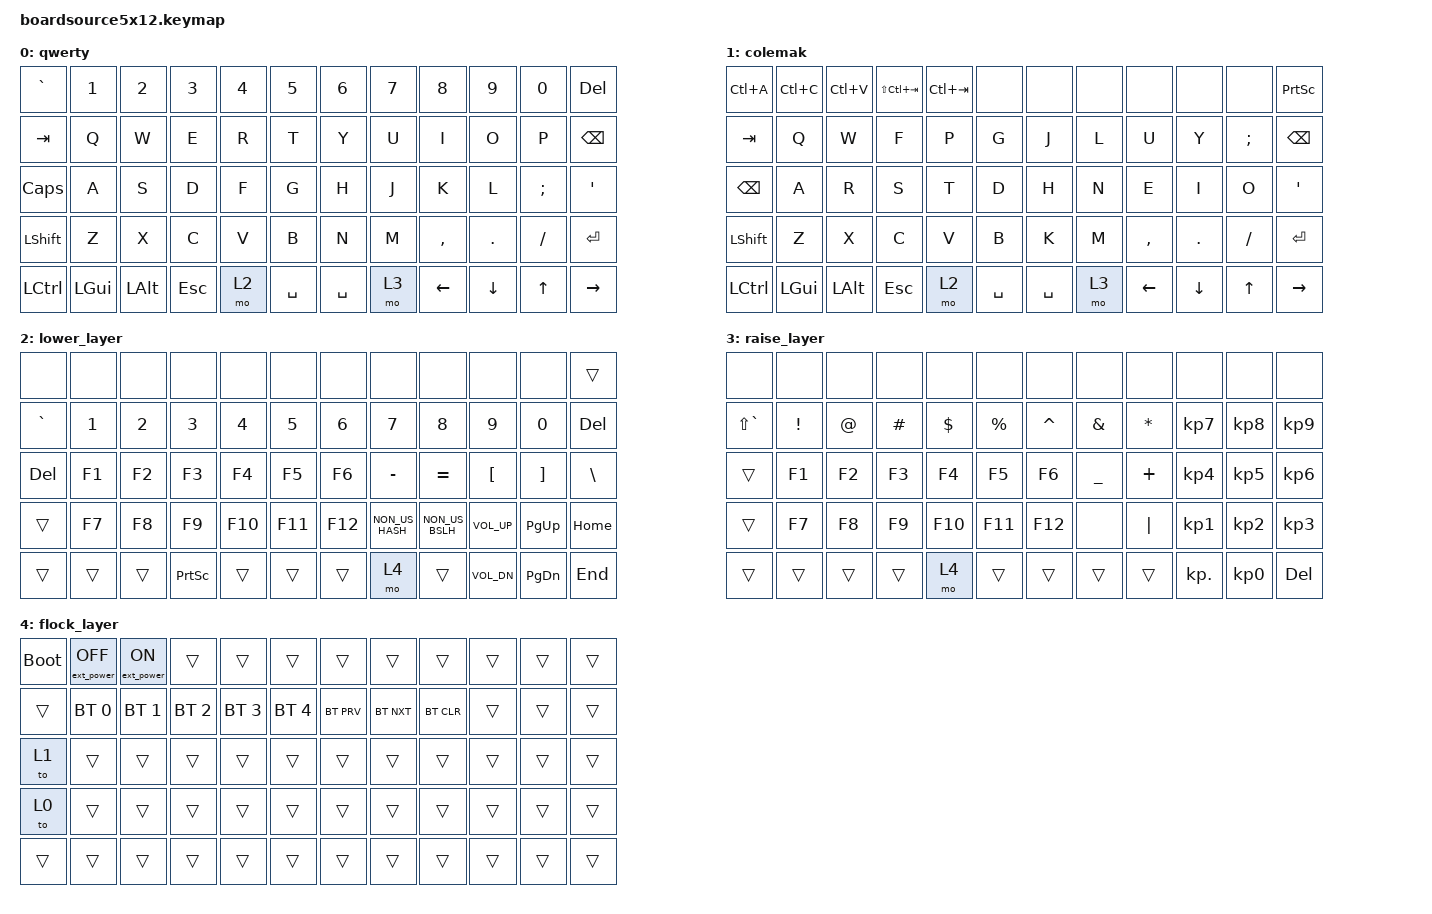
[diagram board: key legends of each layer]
/*
 * Copyright (c) 2021 The ZMK Contributors
 *
 * SPDX-License-Identifier: MIT
 */
 
#include <behaviors.dtsi>
#include <dt-bindings/zmk/keys.h>
#include <dt-bindings/zmk/bt.h>
#include <dt-bindings/zmk/outputs.h>
#include <dt-bindings/zmk/ext_power.h>


/ {
    keymap {
        compatible = "zmk,keymap";

        qwerty {
            // ------------------------------------------------------------------------------------------
            // |  ~    | 1    |  2   |  3   |  4   |  5   |   6   |  7    |  8   |  9   |   0   | DEL   |
            // |  TAB  |  Q   |  W   |  E   |  R   |  T   |   Y   |  U    |  I   |  O   |   P   | BSPC  |
            // |  CAPS |  A   |  S   |  D   |  F   |  G   |   H   |  J    |  K   |  L   |   ;   |  '    |
            // | SHIFT |  Z   |  X   |  C   |  V   |  B   |   N   |  M    |  ,   |  .   |   /   | ENTER |
            // | LCTRL | WIN  | LALT | ESC  | LOWR | SPACE| SPACE |  RAIS | LARW | DARW | UARW  | RARW  |
            bindings = <
                &kp GRAVE  &kp N1       &kp N2      &kp N3     &kp N4     &kp N5      &kp N6      &kp N7  &kp N8      &kp N9      &kp N0      &kp DEL
                &kp TAB    &kp Q        &kp W       &kp E      &kp R      &kp T       &kp Y       &kp U   &kp I       &kp O       &kp P       &kp BSPC
                &kp CAPS   &kp A        &kp S       &kp D      &kp F      &kp G       &kp H       &kp J   &kp K       &kp L       &kp SEMI    &kp SQT
                &kp LSHFT  &kp Z        &kp X       &kp C      &kp V      &kp B       &kp N       &kp M   &kp COMMA   &kp DOT     &kp FSLH    &kp RET
                &kp LCTL   &kp LGUI     &kp LALT    &kp ESC    &mo 2      &kp SPACE   &kp SPACE   &mo 3   &kp LEFT    &kp DOWN    &kp UP      &kp RIGHT 
            >;
        };

        colemak {
            // -------------------------------------------------------------------------------------------
            // |  all  | copy | pste | prev | forw |  NA  |   NA  |  NA   |  NA  |  NA  |   NA  |  PRNT |
            // |  TAB  |  Q   |  W   |  F   |  P   |  G   |   J   |   L   |  U   |  Y   |   :   |  BSPC |
            // |  BSPC |  A   |  R   |  S   |  T   |  D   |   H   |   N   |  E   |  I   |   O   |   '   |
            // | SHIFT |  Z   |  X   |  C   |  V   |  B   |   K   |   M   |  ,   |  .   |   /   | ENTER |
            // | LCTRL | WIN  | LALT | ESC  | LOWR | SPACE| SPACE |  RAIS | LARW | DARW | UARW  | RARW  |
           bindings = <
                &kp LC(A)  &kp LC(C)    &kp LC(V)   &kp LS(LC(TAB)) &kp LC(TAB) &none       &none       &none   &none       &none       &none       &kp PSCRN
                &kp TAB    &kp Q        &kp W       &kp F           &kp P       &kp G       &kp J       &kp L   &kp U       &kp Y       &kp SEMI    &kp BSPC
                &kp BSPC   &kp A        &kp R       &kp S           &kp T       &kp D       &kp H       &kp N   &kp E       &kp I       &kp O       &kp SQT
                &kp LSHFT  &kp Z        &kp X       &kp C           &kp V       &kp B       &kp K       &kp M   &kp COMMA   &kp DOT     &kp FSLH    &kp RET
                &kp LCTL   &kp LGUI     &kp LALT    &kp ESC         &mo 2       &kp SPACE   &kp SPACE   &mo 3   &kp LEFT    &kp DOWN    &kp UP      &kp RIGHT 
            >;
        };

        lower_layer {
            // ------------------------------------------------------------------------------------------
            // |  NA   |  NA  |  NA  |  NA  |  NA  |  NA  |  NA   |  NA   |  NA  |  NA  |   NA  |  NA   |
            // |   ~   |  1   |  2   |  3   |  4   |  5   |  6    |   7   |  8   |  9   |   0   |  DEL  |
            // |  DEL  |  F1  |  F2  |  F3  |  F4  |  F5  |  F6   |   -   |  =   |  [   |   ]   |   \   |
            // |       |  F7  |  F8  |  F9  |  F10 |  F11 |  F12  |   #   |  |   | VOL+ |  PGUP |  HOME |
            // |       |      |      | PRNT |      |      |       | flock |      | VOL- |  PGD  |  END  |
            bindings = <
                &none     &none    &none    &none     &none     &none   &none     &none           &none           &none         &none            &trans
                &kp GRAVE &kp N1   &kp N2   &kp N3    &kp N4    &kp N5  &kp N6    &kp N7          &kp N8          &kp N9        &kp N0           &kp DEL
                &kp DEL   &kp F1   &kp F2   &kp F3    &kp F4    &kp F5  &kp F6    &kp MINUS       &kp EQUAL       &kp LBKT      &kp RBKT         &kp BSLH
                &trans    &kp F7   &kp F8   &kp F9    &kp F10   &kp F11 &kp F12   &kp NON_US_HASH &kp NON_US_BSLH &kp C_VOL_UP  &kp PG_UP        &kp HOME
                &trans    &trans   &trans   &kp PSCRN &trans    &trans  &trans    &mo 4           &trans          &kp C_VOL_DN  &kp PG_DN        &kp END
            >;
        };

        raise_layer {
            // ------------------------------------------------------------------------------------------
            // |  NA  |  NA  |  NA  |  NA  |  NA   |  NA  |  NA  |  NA  |  NA  |  NA  |  NA  |    NA     |
            // |   ~  |  !   |  @   |  #   |  $    |  %   |  ^   |  &   |  *   |  7   |  8   |    9      |
            // |      |  F1  |  F2  |  F3  |  F4   |  F5  |  F6  |  _   |  +   |  4   |  5   |    6      |
            // |      |  F7  |  F8  |  F9  |  F10  |  F11 |  F12 |  NA  |  |   |  1   |  2   |    3      |
            // |      |      |      |      | flock |      |      |      |  NA  |  .   |  0   |    DEL    |
            bindings = <
                &none         &none    &none  &none    &none    &none     &none     &none     &none     &none      &none     &none 
                &kp LS(GRAVE) &kp EXCL &kp AT &kp HASH &kp DLLR &kp PRCNT &kp CARET &kp AMPS  &kp ASTRK &kp KP_N7  &kp KP_N8 &kp KP_N9
                &trans        &kp F1   &kp F2 &kp F3   &kp F4   &kp F5    &kp F6    &kp UNDER &kp PLUS  &kp KP_N4  &kp KP_N5 &kp KP_N6
                &trans        &kp F7   &kp F8 &kp F9   &kp F10  &kp F11   &kp F12   &none     &kp PIPE  &kp KP_N1  &kp KP_N2 &kp KP_N3
                &trans        &trans   &trans &trans   &mo 4    &trans    &trans    &trans    &trans    &kp KP_DOT &kp KP_N0 &kp DEL
            >;
        };

        flock_layer {
            // ----------------------------------------------------------------------------------------------
            // | Bootldr| VccOff | VccOn  |        |        |        |      |      |      |     |     |      |
            // |        |BT_SEL 0|BT_SEL 1|BT_SEL 2|BT_SEL 3|BT_SEL 4|BT_PRV|BT_NXT|BT_CLR|     |     |      |
            // | DF(col)|        |        |        |        |        |      |      |      |     |     |      |
            // | DF(qwe)|        |        |        |        |        |      |      |      |     |     |      |
            // |        |        |        |        |        |        |      |      |      |     |     |      |
            bindings = <
                &bootloader  &ext_power EP_OFF &ext_power EP_ON &trans       &trans       &trans       &trans     &trans     &trans     &trans  &trans  &trans
                &trans       &bt BT_SEL 0      &bt BT_SEL 1     &bt BT_SEL 2 &bt BT_SEL 3 &bt BT_SEL 4 &bt BT_PRV &bt BT_NXT &bt BT_CLR &trans  &trans  &trans
                &to 1        &trans            &trans           &trans       &trans       &trans       &trans     &trans     &trans     &trans  &trans  &trans
                &to 0        &trans            &trans           &trans       &trans       &trans       &trans     &trans     &trans     &trans  &trans  &trans
                &trans       &trans            &trans           &trans       &trans       &trans       &trans     &trans     &trans     &trans  &trans  &trans
            >;
        };
    };
};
